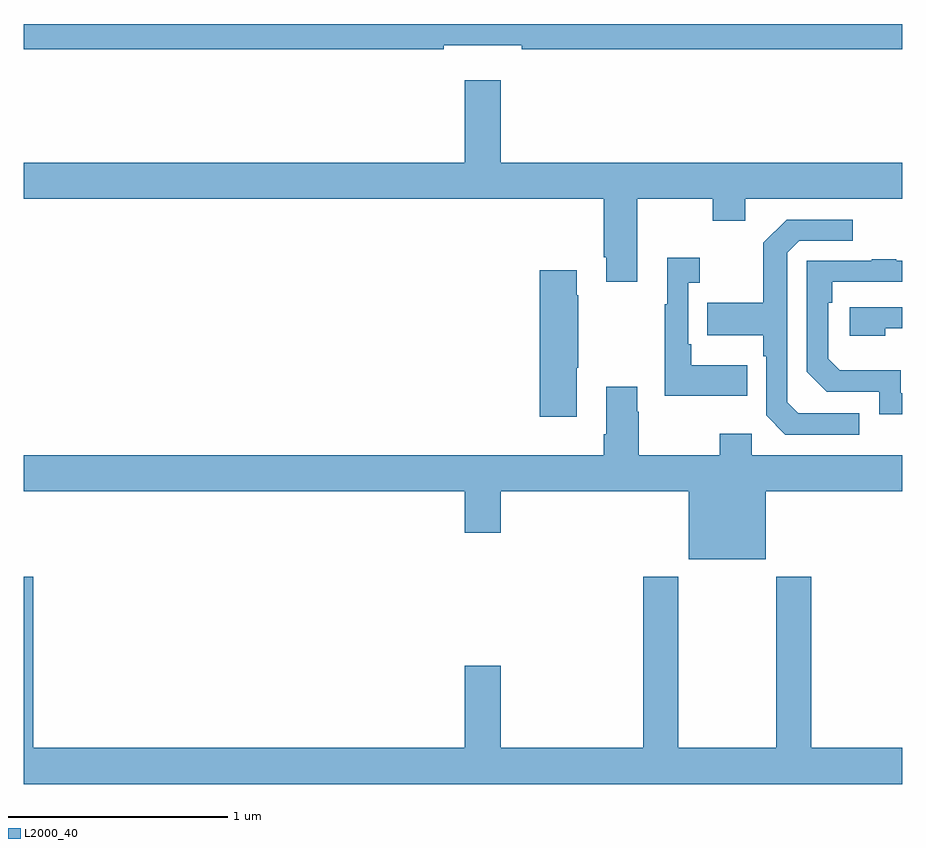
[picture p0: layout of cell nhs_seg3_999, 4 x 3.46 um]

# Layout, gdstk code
import gdstk
lib = gdstk.Library(unit=1e-6, precision=1e-09)
def P(c, l, *ps):  # polygons
    for p in ps: c.add(gdstk.Polygon(p, *l))
L2000_40 = (2000, 40)

nhs_seg3_999 = lib.new_cell('nhs_seg3_999')
P(nhs_seg3_999, L2000_40, [(164.912,688.295),(165.268,688.295),(165.268,688.276),(167,688.276),(167,688.392),(163,688.392),(163,688.276),(164.912,688.276)],
  [(165.793,687.596),(166.138,687.596),(166.138,687.497),(166.285,687.497),(166.285,687.596),(167,687.596),(167,687.76),(165.172,687.76),(165.172,688.135),(165.008,688.135),(165.008,687.76),(163,687.76),(163,687.596),(165.641,687.596),(165.641,687.331),(165.653,687.331),(165.653,687.219),(165.793,687.219)],
  [(166.804,686.619),(166.527,686.619),(166.476,686.67),(166.476,687.351),(166.53,687.405),(166.774,687.405),(166.774,687.501),(166.473,687.501),(166.368,687.395),(166.368,687.123),(166.111,687.123),(166.111,686.975),(166.368,686.975),(166.368,686.879),(166.38,686.879),(166.38,686.61),(166.467,686.523),(166.804,686.523)],
  [(166.295,686.839),(166.039,686.839),(166.039,686.935),(166.026,686.935),(166.026,687.215),(166.078,687.215),(166.078,687.328),(165.929,687.328),(165.929,687.115),(165.918,687.115),(165.918,686.699),(166.295,686.699)],
  [(167,686.712),(166.992,686.712),(166.992,686.815),(166.715,686.815),(166.662,686.868),(166.662,687.122),(166.682,687.122),(166.682,687.219),(167,687.219),(167,687.315),(166.973,687.315),(166.973,687.32),(166.861,687.32),(166.861,687.315),(166.566,687.315),(166.566,686.808),(166.656,686.718),(166.896,686.718),(166.896,686.616),(167,686.616)],
  [(165.517,686.827),(165.525,686.827),(165.525,687.158),(165.517,687.158),(165.517,687.271),(165.35,687.271),(165.35,686.604),(165.517,686.604)],
  [(166.922,687.006),(167,687.006),(167,687.102),(166.761,687.102),(166.761,686.972),(166.922,686.972)],
  [(166.378,686.264),(167,686.264),(167,686.428),(166.314,686.428),(166.314,686.527),(166.168,686.527),(166.168,686.428),(165.801,686.428),(165.801,686.627),(165.793,686.627),(165.793,686.74),(165.653,686.74),(165.653,686.524),(165.641,686.524),(165.641,686.428),(163,686.428),(163,686.264),(165.008,686.264),(165.008,686.076),(165.172,686.076),(165.172,686.264),(166.028,686.264),(166.028,685.955),(166.378,685.955)],
  [(167,685.096),(166.586,685.096),(166.586,685.876),(166.426,685.876),(166.426,685.096),(165.981,685.096),(165.981,685.876),(165.821,685.876),(165.821,685.096),(165.172,685.096),(165.172,685.471),(165.008,685.471),(165.008,685.096),(163.043,685.096),(163.043,685.876),(163,685.876),(163,684.932),(167,684.932)])

lib.write_gds('nhs_seg3_999.gds')
